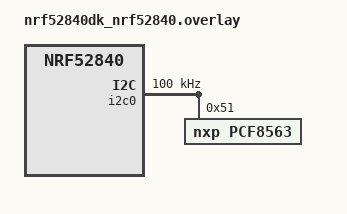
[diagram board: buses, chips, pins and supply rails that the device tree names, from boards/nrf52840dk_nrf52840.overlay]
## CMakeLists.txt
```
cmake_minimum_required(VERSION 3.20.0)
find_package(Zephyr REQUIRED HINTS $ENV{ZEPHYR_BASE})
project(pcf8563_bug_test)

target_sources(app PRIVATE src/main.c)
```

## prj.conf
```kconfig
# Enable I2C
CONFIG_I2C=y

# Enable RTC subsystem
CONFIG_RTC=y

# Logging
CONFIG_LOG=y
CONFIG_LOG_DEFAULT_LEVEL=3
CONFIG_PRINTK=y
CONFIG_CONSOLE=y
CONFIG_UART_CONSOLE=y
```

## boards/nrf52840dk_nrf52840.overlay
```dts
&i2c0 {
    status = "okay";
    clock-frequency = <100000>;
    
    pcf8563: pcf8563@51 {
        compatible = "nxp,pcf8563";
        reg = <0x51>;
        status = "okay";
    };
};
```

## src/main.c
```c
/*
 * PCF8563 RTC Driver Bug Test - Using REAL Driver
 * Initial project setup and build configuration verified
 */

#include <zephyr/kernel.h>
#include <zephyr/device.h>
#include <zephyr/drivers/rtc.h>
#include <zephyr/logging/log.h>

LOG_MODULE_REGISTER(pcf8563_test, LOG_LEVEL_INF);

/* Get the RTC device from device tree */
#define RTC_DEV DT_NODELABEL(pcf8563)

static int pass_count;
static int fail_count;

static void test_year_with_real_driver(uint16_t actual_year)
{
    const struct device *rtc = DEVICE_DT_GET(RTC_DEV);
    
    if (!device_is_ready(rtc)) {
        LOG_ERR("RTC device not ready!");
        return;
    }
    
    LOG_INF("\n========================================");
    LOG_INF("Testing Year %d with REAL DRIVER", actual_year);
    LOG_INF("========================================");
    
    /* Prepare time to set */
    struct rtc_time set_time = {
        .tm_sec = 30,
        .tm_min = 45,
        .tm_hour = 14,
        .tm_mday = 18,
        .tm_mon = 2,    // February (0-based)
        .tm_year = actual_year - 1900,  // tm_year format
        .tm_wday = 2,   // Tuesday
    };
    
    LOG_INF("Setting time: Year %d (tm_year=%d)", 
            actual_year, set_time.tm_year);
    
    /* CALL REAL DRIVER - This executes actual buggy code! */
    int ret = rtc_set_time(rtc, &set_time);
    if (ret < 0) {
        LOG_ERR("Failed to set time: %d", ret);
        return;
    }
    
    LOG_INF("Time set successfully");
    
    /* Wait a bit */
    k_sleep(K_MSEC(100));
    
    /* Read back time - CALLS REAL DRIVER AGAIN */
    struct rtc_time get_time = {0};
    ret = rtc_get_time(rtc, &get_time);
    if (ret < 0) {
        LOG_ERR("Failed to get time: %d", ret);
        return;
    }
    
    /* Check results */
    LOG_INF("Read back: %04d-%02d-%02d %02d:%02d:%02d (tm_year=%d)",
            get_time.tm_year + 1900, get_time.tm_mon + 1, get_time.tm_mday,
            get_time.tm_hour, get_time.tm_min, get_time.tm_sec,
            get_time.tm_year);

    if (get_time.tm_year == set_time.tm_year) {
        LOG_INF("PASS: Year matches!");
        pass_count++;
    } else {
        LOG_ERR("FAIL: Year mismatch!");
        fail_count++;
        LOG_ERR("  Expected tm_year: %d (year %d)",
                set_time.tm_year, set_time.tm_year + 1900);
        LOG_ERR("  Got tm_year:      %d (year %d)",
                get_time.tm_year, get_time.tm_year + 1900);
        LOG_ERR("  Difference:       %d years",
                set_time.tm_year - get_time.tm_year);
    }
}

int main(void)
{
    pass_count = 0;
    fail_count = 0;

    LOG_INF("\n");
    LOG_INF("========================================");
    LOG_INF("  PCF8563 REAL DRIVER Bug Test");
    LOG_INF("  Testing ACTUAL Zephyr Driver Code");
    LOG_INF("========================================");
    LOG_INF("\n");
    
    /* Test with different years */
    test_year_with_real_driver(1970);
    k_sleep(K_MSEC(500));

    test_year_with_real_driver(2000);
    k_sleep(K_MSEC(500));

    test_year_with_real_driver(2026);
    k_sleep(K_MSEC(500));

    test_year_with_real_driver(2050);
    k_sleep(K_MSEC(500));

    // test_year_with_real_driver(1920);
    // k_sleep(K_MSEC(500));

    test_year_with_real_driver(2099);
    
    LOG_INF("\n========================================");
    LOG_INF("Test Complete - Check results above");
    LOG_INF("  PASSED: %d  FAILED: %d", pass_count, fail_count);
    LOG_INF("========================================\n");
    
    return 0;
}
```
